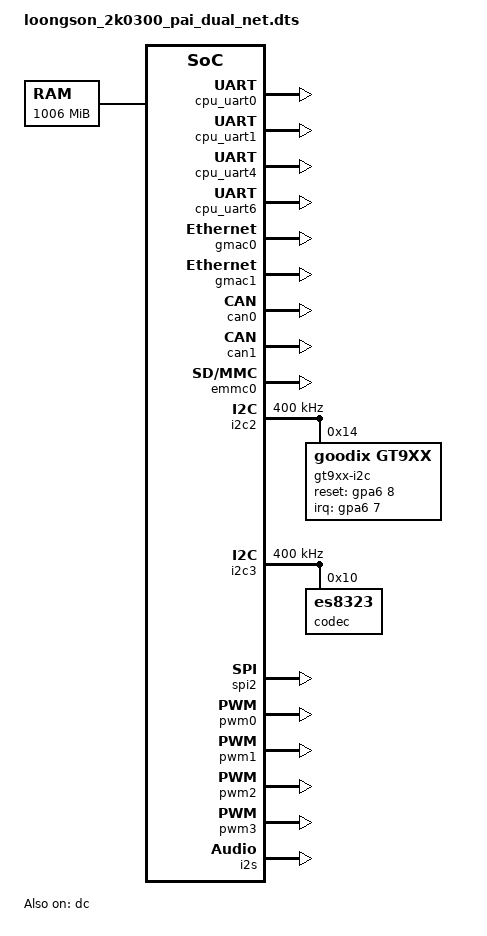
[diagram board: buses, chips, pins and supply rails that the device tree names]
#include "loongson_2k0300.dtsi"

/ {
	memory {
         name = "memory";
         device_type = "memory";
         reg =  <0 0x00200000 0 0x0ee00000
             0 0x90000000 0 0x30000000>;
	};
};

&cpu_uart0{
    status = "okay";
    pinctrl-names = "default";
    pinctrl-0 = <&uart0_2bit_m0>;
};

&cpu_uart1{
    status = "okay";
    pinctrl-names = "default";
    pinctrl-0 = <&uart1_2bit_m0>;
};

&cpu_uart2{
    status = "disabled";
    pinctrl-names = "default";
    pinctrl-0 = <&uart0_2bit_m1>;
};

&cpu_uart3{
    status = "disabled";
    pinctrl-names = "default";
    pinctrl-0 = <&uart3_2bit_m1>;
};
&cpu_uart4{
    status = "okay";
    pinctrl-names = "default";
    pinctrl-0 = <&uart4_2bit>;
};

&cpu_uart5{
    status = "disabled";
    pinctrl-names = "default";
    pinctrl-0 = <&uart5_pin>;
};

&cpu_uart6{
    status = "okay";
    pinctrl-names = "default";
    pinctrl-0 = <&uart6_pin>;
};

&cpu_uart7{
    status = "disabled";
    pinctrl-names = "default";
    pinctrl-0 = <&uart7_pin>;
};

&cpu_uart8{
    status = "disabled";
    pinctrl-names = "default";
    pinctrl-0 = <&uart8_pin>;
};

&cpu_uart9{
    status = "disabled";
    pinctrl-names = "default";
    pinctrl-0 = <&uart9_pin>;
};

&gmac0{
    status = "okay";
    pinctrl-names = "default";
    pinctrl-0 = <&gmac0_12bit_f0>, <&gmac0_12bit_f1>;
};
&gmac1{
    status = "okay";
    pinctrl-names = "default";
    pinctrl-0 = <&gmac1_12bit_f0>, <&gmac1_12bit_f1>;
};

&can0{
    status = "okay";
    pinctrl-names = "default";
    pinctrl-0 = <&can0_mux_m0>;
};
&can1{
    status = "okay";
    pinctrl-names = "default";
    pinctrl-0 = <&can1_mux_m0>;
};
&can2{
    status = "disabled";
    pinctrl-names = "default";
    pinctrl-0 = <&can2_mux_m0>;
};
&can3{
    status = "disable";
    pinctrl-names = "default";
    pinctrl-0 = <&can3_mux_m0>;
};

&emmc0{
    status = "okay";
    pinctrl-names = "default";
    pinctrl-0 = <&sdio0_pin_f0>, <&sdio0_pin_f1>;
};
&sdio1{
    status = "disabled";
    pinctrl-names = "default";
    pinctrl-0 = <&sdio1_6bit>, <&sdio1_10bit_m0>;
};

&i2c0{
    status = "disabled";
    clock-frequency = <400000>;
    pinctrl-names = "default";
    pinctrl-0 = <&i2c0_mux_m0>;
};
&i2c1{
	status = "disabled";
    clock-frequency = <400000>;
    pinctrl-names = "default";
    pinctrl-0 = <&i2c1_mux_m0>;
};
&i2c2{
	status = "okay";
    clock-frequency = <400000>;
    pinctrl-names = "default";
    pinctrl-0 = <&i2c2_mux_m1>;

	gt9xx-i2c@14{
    	status = "okay";
    	compatible = "goodix,gt9xx";
    	reg = <0x14>;

    	reset-gpios = <&gpa6 8 0>;
    	irq-gpios = <&gpa6 7 0>;
    	irq-flags = <IRQ_TYPE_EDGE_FALLING>;
    	goodix,type-a-report = <0>;
    	goodix,create-wr-node = <1>;
    	goodix,wakeup-with-reset = <0>;
    	goodix,resume-in-workqueue = <0>;
    	goodix,int-sync = <1>;
    	goodix,swap-x2y = <0>;
    	goodix,esd-protect = <0>;
	goodix,auto-update = <1>;
    	goodix,auto-update-cfg = <0>;
    	goodix,power-off-sleep = <0>;
    	goodix.pen-suppress-finger = <0>;
    	goodix,cfg-group0 = [
        	53 D0 02 00 05 05 F5 D5 21 48 2D 0F 5A 41 0E 05 00 00 32
            	32 20 00 05 14 14 1A 14 8B 2B 00
            	];
	};

};
&i2c3{
	status = "okay";
    clock-frequency = <400000>;
    pinctrl-names = "default";
    pinctrl-0 = <&i2c3_mux_m1>;

	codec@10{
		compatible = "es8323";
		reg = <0x10>;
	};

};

&spi0{
	status = "disable";
    pinctrl-names = "default";
    pinctrl-0 = <&spi0_6bit_f0>;

	norflash@0 {
       reg = <0>;
       spi-rx-bus-width = <4>;
       spi-max-frequency = <25000000>;
       #address-cells = <1>;
       #size-cells = <1>;
       partitions {
               compatible = "fixed-partitions";
           #address-cells = <1>;
           #size-cells = <1>;

           boot@0 {
               label = "boot";
               reg = <0x0000000 0x100000>;
               /*read-only;*/
           };

           kernel@100000 {
               label = "kernel";
               reg = <0x100000 0x600000>;
           };

           rootfs@700000 {
               label = "rootfs";
               reg = <0x700000 0x1000000>;
           };
       };

    };

};
&spi2{
	status = "okay";
    pinctrl-names = "default";
    pinctrl-0 = <&spi2_pin>;
};

&pwm0{
	status = "okay";
    pinctrl-names = "default";
    pinctrl-0 = <&pwm0_mux_m1>;
};
&pwm1{
	status = "okay";
    pinctrl-names = "default";
    pinctrl-0 = <&pwm1_mux_m1>;
};
&pwm2{
	status = "okay";
    pinctrl-names = "default";
    pinctrl-0 = <&pwm2_mux_m1>;
};
&pwm3{
	status = "okay";
    pinctrl-names = "default";
    pinctrl-0 = <&pwm3_mux_m1>;
};

&i2s{
	status = "okay";
    pinctrl-names = "default";
    pinctrl-0 = <&i2s_pin_f0>, <&i2s_pin_f1>;
};

&sound{
	codec-names = "ES8323 PAIF RX","Playback", "ES8323 HiFi", "ES8323.3-0010",
					"ES8323 PAIF TX","Capture","ES8323 HiFi","ES8323.3-0010";
};

&dc{
	status = "okay";
    pinctrl-names = "default";
    pinctrl-0 = <&lcd_pin_f0>,<&lcd_pin_f1>;
};
